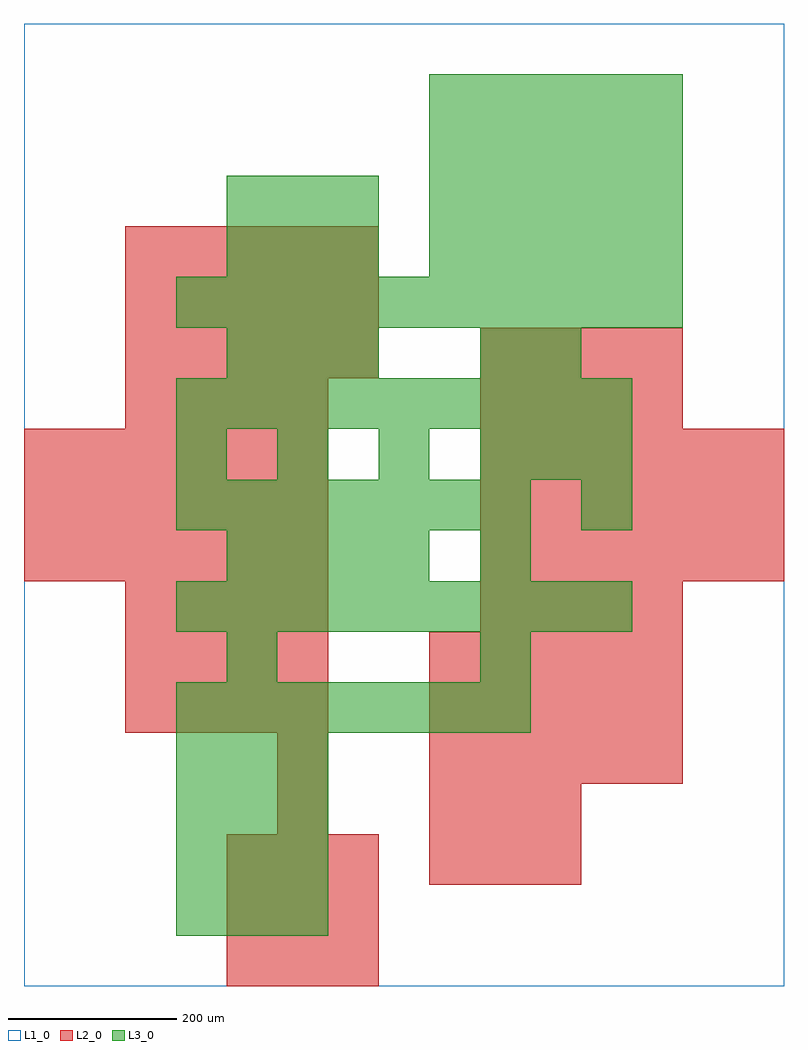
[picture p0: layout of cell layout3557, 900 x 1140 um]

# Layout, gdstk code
import gdstk
lib = gdstk.Library(unit=1e-6, precision=1e-09)
def R(c, l, rs):  # rectangles x0, y0, x1, y1
    for r in rs: c.add(gdstk.rectangle(r[:2], r[2:], *l))
def A(c, l, x, y, w, h, nx, ny, dx, dy):  # array of equal rectangles
    R(c, l, [(x+i*dx, y+j*dy, x+i*dx+w, y+j*dy+h) for i in range(nx) for j in range(ny)])
L1_0 = (1, 0)
L2_0 = (2, 0)
L3_0 = (3, 0)

layout3557 = lib.new_cell('layout3557')
R(layout3557, L1_0, [(0,0,900,1140)])
A(layout3557, L2_0, 240, 0, 60, 60, 3, 3, 60, 60)
A(layout3557, L2_0, 480, 120, 60, 60, 3, 2, 60, 60)
A(layout3557, L2_0, 480, 240, 60, 60, 5, 3, 60, 60)
A(layout3557, L2_0, 120, 300, 60, 60, 4, 3, 60, 60)
A(layout3557, L2_0, 540, 420, 60, 60, 4, 2, 60, 240)
A(layout3557, L2_0, 0, 480, 60, 60, 6, 3, 60, 60)
A(layout3557, L2_0, 540, 480, 60, 60, 6, 3, 60, 60)
A(layout3557, L2_0, 120, 660, 60, 60, 4, 1, 60, 0)
A(layout3557, L2_0, 120, 720, 60, 60, 5, 3, 60, 60)
A(layout3557, L2_0, 540, 720, 60, 60, 4, 1, 60, 0)
R(layout3557, L2_0, [(300,180,360,240), (300,240,360,300)])
A(layout3557, L3_0, 180, 60, 60, 60, 3, 4, 60, 60)
A(layout3557, L3_0, 180, 300, 60, 60, 7, 2, 60, 240)
A(layout3557, L3_0, 180, 420, 60, 60, 9, 2, 60, 240)
A(layout3557, L3_0, 240, 480, 60, 60, 4, 1, 60, 0)
A(layout3557, L3_0, 180, 600, 60, 60, 4, 1, 120, 0)
A(layout3557, L3_0, 240, 720, 60, 60, 3, 2, 60, 120)
A(layout3557, L3_0, 180, 780, 60, 60, 10, 1, 60, 0)
A(layout3557, L3_0, 480, 840, 60, 60, 5, 4, 60, 60)
A(layout3557, L3_0, 240, 900, 60, 60, 3, 1, 60, 0)
R(layout3557, L3_0, [(240,360,300,420), (540,360,600,420), (540,480,600,540), (660,540,720,600), (600,600,660,660), (660,600,720,660), (540,720,600,780), (600,720,660,780)])

lib.write_gds('layout3557.gds')
